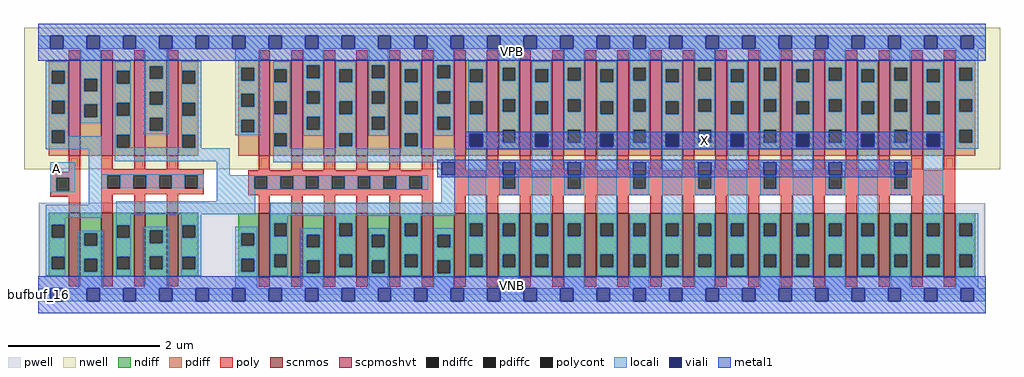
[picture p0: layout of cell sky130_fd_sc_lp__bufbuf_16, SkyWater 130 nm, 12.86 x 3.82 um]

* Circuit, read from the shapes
.subckt sky130_fd_sc_lp__bufbuf_16 A VGND VNB VPB VPWR X
XM1 VGND A n1 VNB sky130_fd_pr__nfet_01v8 w=0.84 l=0.15
XM2 n2 n1 VGND VNB sky130_fd_pr__nfet_01v8 w=0.84 l=0.15 m=3
XM3 n3 n2 VGND VNB sky130_fd_pr__nfet_01v8 w=0.84 l=0.15 m=6
XM4 X n3 VGND VNB sky130_fd_pr__nfet_01v8 w=0.84 l=0.15 m=16
XM5 VPWR A n1 VPB sky130_fd_pr__pfet_01v8_hvt w=1.26 l=0.15
XM6 n2 n1 VPWR VPB sky130_fd_pr__pfet_01v8_hvt w=1.26 l=0.15 m=3
XM7 n3 n2 VPWR VPB sky130_fd_pr__pfet_01v8_hvt w=1.26 l=0.15 m=6
XM8 X n3 VPWR VPB sky130_fd_pr__pfet_01v8_hvt w=1.26 l=0.15 m=16
.ends

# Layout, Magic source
magic
tech sky130A
magscale 1 2
<< nwell >>
rect -38 331 2534 704
<< pwell >>
rect 1 241 447 243
rect 1 49 2495 241
rect 0 0 2496 49
<< scnmos >>
rect 80 49 110 217
rect 166 49 196 217
rect 252 49 282 217
rect 338 49 368 217
rect 580 47 610 215
rect 666 47 696 215
rect 752 47 782 215
rect 838 47 868 215
rect 924 47 954 215
rect 1010 47 1040 215
rect 1096 47 1126 215
rect 1182 47 1212 215
rect 1268 47 1298 215
rect 1354 47 1384 215
rect 1440 47 1470 215
rect 1526 47 1556 215
rect 1612 47 1642 215
rect 1698 47 1728 215
rect 1784 47 1814 215
rect 1870 47 1900 215
rect 1956 47 1986 215
rect 2042 47 2072 215
rect 2128 47 2158 215
rect 2214 47 2244 215
rect 2300 47 2330 215
rect 2386 47 2416 215
<< scpmoshvt >>
rect 80 367 110 619
rect 166 367 196 619
rect 252 367 282 619
rect 338 367 368 619
rect 580 367 610 619
rect 666 367 696 619
rect 752 367 782 619
rect 838 367 868 619
rect 924 367 954 619
rect 1010 367 1040 619
rect 1096 367 1126 619
rect 1182 367 1212 619
rect 1268 367 1298 619
rect 1354 367 1384 619
rect 1440 367 1470 619
rect 1526 367 1556 619
rect 1612 367 1642 619
rect 1698 367 1728 619
rect 1784 367 1814 619
rect 1870 367 1900 619
rect 1956 367 1986 619
rect 2042 367 2072 619
rect 2128 367 2158 619
rect 2214 367 2244 619
rect 2300 367 2330 619
rect 2386 367 2416 619
<< ndiff >>
rect 27 185 80 217
rect 27 151 35 185
rect 69 151 80 185
rect 27 101 80 151
rect 27 67 35 101
rect 69 67 80 101
rect 27 49 80 67
rect 110 163 166 217
rect 110 129 121 163
rect 155 129 166 163
rect 110 95 166 129
rect 110 61 121 95
rect 155 61 166 95
rect 110 49 166 61
rect 196 184 252 217
rect 196 150 207 184
rect 241 150 252 184
rect 196 101 252 150
rect 196 67 207 101
rect 241 67 252 101
rect 196 49 252 67
rect 282 170 338 217
rect 282 136 293 170
rect 327 136 338 170
rect 282 102 338 136
rect 282 68 293 102
rect 327 68 338 102
rect 282 49 338 68
rect 368 184 421 217
rect 368 150 379 184
rect 413 150 421 184
rect 368 101 421 150
rect 368 67 379 101
rect 413 67 421 101
rect 368 49 421 67
rect 527 163 580 215
rect 527 129 535 163
rect 569 129 580 163
rect 527 95 580 129
rect 527 61 535 95
rect 569 61 580 95
rect 527 47 580 61
rect 610 189 666 215
rect 610 155 621 189
rect 655 155 666 189
rect 610 107 666 155
rect 610 73 621 107
rect 655 73 666 107
rect 610 47 666 73
rect 696 159 752 215
rect 696 125 707 159
rect 741 125 752 159
rect 696 91 752 125
rect 696 57 707 91
rect 741 57 752 91
rect 696 47 752 57
rect 782 189 838 215
rect 782 155 793 189
rect 827 155 838 189
rect 782 107 838 155
rect 782 73 793 107
rect 827 73 838 107
rect 782 47 838 73
rect 868 159 924 215
rect 868 125 879 159
rect 913 125 924 159
rect 868 91 924 125
rect 868 57 879 91
rect 913 57 924 91
rect 868 47 924 57
rect 954 189 1010 215
rect 954 155 965 189
rect 999 155 1010 189
rect 954 107 1010 155
rect 954 73 965 107
rect 999 73 1010 107
rect 954 47 1010 73
rect 1040 159 1096 215
rect 1040 125 1051 159
rect 1085 125 1096 159
rect 1040 91 1096 125
rect 1040 57 1051 91
rect 1085 57 1096 91
rect 1040 47 1096 57
rect 1126 189 1182 215
rect 1126 155 1137 189
rect 1171 155 1182 189
rect 1126 107 1182 155
rect 1126 73 1137 107
rect 1171 73 1182 107
rect 1126 47 1182 73
rect 1212 189 1268 215
rect 1212 155 1223 189
rect 1257 155 1268 189
rect 1212 107 1268 155
rect 1212 73 1223 107
rect 1257 73 1268 107
rect 1212 47 1268 73
rect 1298 189 1354 215
rect 1298 155 1309 189
rect 1343 155 1354 189
rect 1298 107 1354 155
rect 1298 73 1309 107
rect 1343 73 1354 107
rect 1298 47 1354 73
rect 1384 189 1440 215
rect 1384 155 1395 189
rect 1429 155 1440 189
rect 1384 107 1440 155
rect 1384 73 1395 107
rect 1429 73 1440 107
rect 1384 47 1440 73
rect 1470 189 1526 215
rect 1470 155 1481 189
rect 1515 155 1526 189
rect 1470 107 1526 155
rect 1470 73 1481 107
rect 1515 73 1526 107
rect 1470 47 1526 73
rect 1556 189 1612 215
rect 1556 155 1567 189
rect 1601 155 1612 189
rect 1556 107 1612 155
rect 1556 73 1567 107
rect 1601 73 1612 107
rect 1556 47 1612 73
rect 1642 189 1698 215
rect 1642 155 1653 189
rect 1687 155 1698 189
rect 1642 107 1698 155
rect 1642 73 1653 107
rect 1687 73 1698 107
rect 1642 47 1698 73
rect 1728 189 1784 215
rect 1728 155 1739 189
rect 1773 155 1784 189
rect 1728 107 1784 155
rect 1728 73 1739 107
rect 1773 73 1784 107
rect 1728 47 1784 73
rect 1814 189 1870 215
rect 1814 155 1825 189
rect 1859 155 1870 189
rect 1814 107 1870 155
rect 1814 73 1825 107
rect 1859 73 1870 107
rect 1814 47 1870 73
rect 1900 189 1956 215
rect 1900 155 1911 189
rect 1945 155 1956 189
rect 1900 107 1956 155
rect 1900 73 1911 107
rect 1945 73 1956 107
rect 1900 47 1956 73
rect 1986 189 2042 215
rect 1986 155 1997 189
rect 2031 155 2042 189
rect 1986 107 2042 155
rect 1986 73 1997 107
rect 2031 73 2042 107
rect 1986 47 2042 73
rect 2072 189 2128 215
rect 2072 155 2083 189
rect 2117 155 2128 189
rect 2072 107 2128 155
rect 2072 73 2083 107
rect 2117 73 2128 107
rect 2072 47 2128 73
rect 2158 189 2214 215
rect 2158 155 2169 189
rect 2203 155 2214 189
rect 2158 107 2214 155
rect 2158 73 2169 107
rect 2203 73 2214 107
rect 2158 47 2214 73
rect 2244 189 2300 215
rect 2244 155 2255 189
rect 2289 155 2300 189
rect 2244 107 2300 155
rect 2244 73 2255 107
rect 2289 73 2300 107
rect 2244 47 2300 73
rect 2330 189 2386 215
rect 2330 155 2341 189
rect 2375 155 2386 189
rect 2330 107 2386 155
rect 2330 73 2341 107
rect 2375 73 2386 107
rect 2330 47 2386 73
rect 2416 189 2469 215
rect 2416 155 2427 189
rect 2461 155 2469 189
rect 2416 107 2469 155
rect 2416 73 2427 107
rect 2461 73 2469 107
rect 2416 47 2469 73
<< pdiff >>
rect 27 590 80 619
rect 27 556 35 590
rect 69 556 80 590
rect 27 511 80 556
rect 27 477 35 511
rect 69 477 80 511
rect 27 434 80 477
rect 27 400 35 434
rect 69 400 80 434
rect 27 367 80 400
rect 110 570 166 619
rect 110 536 121 570
rect 155 536 166 570
rect 110 502 166 536
rect 110 468 121 502
rect 155 468 166 502
rect 110 367 166 468
rect 196 590 252 619
rect 196 556 207 590
rect 241 556 252 590
rect 196 506 252 556
rect 196 472 207 506
rect 241 472 252 506
rect 196 422 252 472
rect 196 388 207 422
rect 241 388 252 422
rect 196 367 252 388
rect 282 603 338 619
rect 282 569 293 603
rect 327 569 338 603
rect 282 535 338 569
rect 282 501 293 535
rect 327 501 338 535
rect 282 467 338 501
rect 282 433 293 467
rect 327 433 338 467
rect 282 367 338 433
rect 368 590 421 619
rect 368 556 379 590
rect 413 556 421 590
rect 368 506 421 556
rect 368 472 379 506
rect 413 472 421 506
rect 368 422 421 472
rect 368 388 379 422
rect 413 388 421 422
rect 368 367 421 388
rect 527 598 580 619
rect 527 564 535 598
rect 569 564 580 598
rect 527 530 580 564
rect 527 496 535 530
rect 569 496 580 530
rect 527 462 580 496
rect 527 428 535 462
rect 569 428 580 462
rect 527 367 580 428
rect 610 594 666 619
rect 610 560 621 594
rect 655 560 666 594
rect 610 510 666 560
rect 610 476 621 510
rect 655 476 666 510
rect 610 426 666 476
rect 610 392 621 426
rect 655 392 666 426
rect 610 367 666 392
rect 696 605 752 619
rect 696 571 707 605
rect 741 571 752 605
rect 696 537 752 571
rect 696 503 707 537
rect 741 503 752 537
rect 696 469 752 503
rect 696 435 707 469
rect 741 435 752 469
rect 696 367 752 435
rect 782 594 838 619
rect 782 560 793 594
rect 827 560 838 594
rect 782 510 838 560
rect 782 476 793 510
rect 827 476 838 510
rect 782 426 838 476
rect 782 392 793 426
rect 827 392 838 426
rect 782 367 838 392
rect 868 605 924 619
rect 868 571 879 605
rect 913 571 924 605
rect 868 537 924 571
rect 868 503 879 537
rect 913 503 924 537
rect 868 469 924 503
rect 868 435 879 469
rect 913 435 924 469
rect 868 367 924 435
rect 954 594 1010 619
rect 954 560 965 594
rect 999 560 1010 594
rect 954 510 1010 560
rect 954 476 965 510
rect 999 476 1010 510
rect 954 426 1010 476
rect 954 392 965 426
rect 999 392 1010 426
rect 954 367 1010 392
rect 1040 605 1096 619
rect 1040 571 1051 605
rect 1085 571 1096 605
rect 1040 537 1096 571
rect 1040 503 1051 537
rect 1085 503 1096 537
rect 1040 469 1096 503
rect 1040 435 1051 469
rect 1085 435 1096 469
rect 1040 367 1096 435
rect 1126 594 1182 619
rect 1126 560 1137 594
rect 1171 560 1182 594
rect 1126 510 1182 560
rect 1126 476 1137 510
rect 1171 476 1182 510
rect 1126 426 1182 476
rect 1126 392 1137 426
rect 1171 392 1182 426
rect 1126 367 1182 392
rect 1212 598 1268 619
rect 1212 564 1223 598
rect 1257 564 1268 598
rect 1212 516 1268 564
rect 1212 482 1223 516
rect 1257 482 1268 516
rect 1212 435 1268 482
rect 1212 401 1223 435
rect 1257 401 1268 435
rect 1212 367 1268 401
rect 1298 594 1354 619
rect 1298 560 1309 594
rect 1343 560 1354 594
rect 1298 510 1354 560
rect 1298 476 1309 510
rect 1343 476 1354 510
rect 1298 426 1354 476
rect 1298 392 1309 426
rect 1343 392 1354 426
rect 1298 367 1354 392
rect 1384 598 1440 619
rect 1384 564 1395 598
rect 1429 564 1440 598
rect 1384 516 1440 564
rect 1384 482 1395 516
rect 1429 482 1440 516
rect 1384 435 1440 482
rect 1384 401 1395 435
rect 1429 401 1440 435
rect 1384 367 1440 401
rect 1470 594 1526 619
rect 1470 560 1481 594
rect 1515 560 1526 594
rect 1470 510 1526 560
rect 1470 476 1481 510
rect 1515 476 1526 510
rect 1470 426 1526 476
rect 1470 392 1481 426
rect 1515 392 1526 426
rect 1470 367 1526 392
rect 1556 598 1612 619
rect 1556 564 1567 598
rect 1601 564 1612 598
rect 1556 516 1612 564
rect 1556 482 1567 516
rect 1601 482 1612 516
rect 1556 435 1612 482
rect 1556 401 1567 435
rect 1601 401 1612 435
rect 1556 367 1612 401
rect 1642 594 1698 619
rect 1642 560 1653 594
rect 1687 560 1698 594
rect 1642 510 1698 560
rect 1642 476 1653 510
rect 1687 476 1698 510
rect 1642 426 1698 476
rect 1642 392 1653 426
rect 1687 392 1698 426
rect 1642 367 1698 392
rect 1728 598 1784 619
rect 1728 564 1739 598
rect 1773 564 1784 598
rect 1728 516 1784 564
rect 1728 482 1739 516
rect 1773 482 1784 516
rect 1728 435 1784 482
rect 1728 401 1739 435
rect 1773 401 1784 435
rect 1728 367 1784 401
rect 1814 594 1870 619
rect 1814 560 1825 594
rect 1859 560 1870 594
rect 1814 510 1870 560
rect 1814 476 1825 510
rect 1859 476 1870 510
rect 1814 426 1870 476
rect 1814 392 1825 426
rect 1859 392 1870 426
rect 1814 367 1870 392
rect 1900 598 1956 619
rect 1900 564 1911 598
rect 1945 564 1956 598
rect 1900 516 1956 564
rect 1900 482 1911 516
rect 1945 482 1956 516
rect 1900 435 1956 482
rect 1900 401 1911 435
rect 1945 401 1956 435
rect 1900 367 1956 401
rect 1986 594 2042 619
rect 1986 560 1997 594
rect 2031 560 2042 594
rect 1986 510 2042 560
rect 1986 476 1997 510
rect 2031 476 2042 510
rect 1986 426 2042 476
rect 1986 392 1997 426
rect 2031 392 2042 426
rect 1986 367 2042 392
rect 2072 598 2128 619
rect 2072 564 2083 598
rect 2117 564 2128 598
rect 2072 516 2128 564
rect 2072 482 2083 516
rect 2117 482 2128 516
rect 2072 435 2128 482
rect 2072 401 2083 435
rect 2117 401 2128 435
rect 2072 367 2128 401
rect 2158 594 2214 619
rect 2158 560 2169 594
rect 2203 560 2214 594
rect 2158 510 2214 560
rect 2158 476 2169 510
rect 2203 476 2214 510
rect 2158 426 2214 476
rect 2158 392 2169 426
rect 2203 392 2214 426
rect 2158 367 2214 392
rect 2244 598 2300 619
rect 2244 564 2255 598
rect 2289 564 2300 598
rect 2244 516 2300 564
rect 2244 482 2255 516
rect 2289 482 2300 516
rect 2244 435 2300 482
rect 2244 401 2255 435
rect 2289 401 2300 435
rect 2244 367 2300 401
rect 2330 594 2386 619
rect 2330 560 2341 594
rect 2375 560 2386 594
rect 2330 510 2386 560
rect 2330 476 2341 510
rect 2375 476 2386 510
rect 2330 426 2386 476
rect 2330 392 2341 426
rect 2375 392 2386 426
rect 2330 367 2386 392
rect 2416 598 2469 619
rect 2416 564 2427 598
rect 2461 564 2469 598
rect 2416 516 2469 564
rect 2416 482 2427 516
rect 2461 482 2469 516
rect 2416 435 2469 482
rect 2416 401 2427 435
rect 2461 401 2469 435
rect 2416 367 2469 401
<< ndiffc >>
rect 35 151 69 185
rect 35 67 69 101
rect 121 129 155 163
rect 121 61 155 95
rect 207 150 241 184
rect 207 67 241 101
rect 293 136 327 170
rect 293 68 327 102
rect 379 150 413 184
rect 379 67 413 101
rect 535 129 569 163
rect 535 61 569 95
rect 621 155 655 189
rect 621 73 655 107
rect 707 125 741 159
rect 707 57 741 91
rect 793 155 827 189
rect 793 73 827 107
rect 879 125 913 159
rect 879 57 913 91
rect 965 155 999 189
rect 965 73 999 107
rect 1051 125 1085 159
rect 1051 57 1085 91
rect 1137 155 1171 189
rect 1137 73 1171 107
rect 1223 155 1257 189
rect 1223 73 1257 107
rect 1309 155 1343 189
rect 1309 73 1343 107
rect 1395 155 1429 189
rect 1395 73 1429 107
rect 1481 155 1515 189
rect 1481 73 1515 107
rect 1567 155 1601 189
rect 1567 73 1601 107
rect 1653 155 1687 189
rect 1653 73 1687 107
rect 1739 155 1773 189
rect 1739 73 1773 107
rect 1825 155 1859 189
rect 1825 73 1859 107
rect 1911 155 1945 189
rect 1911 73 1945 107
rect 1997 155 2031 189
rect 1997 73 2031 107
rect 2083 155 2117 189
rect 2083 73 2117 107
rect 2169 155 2203 189
rect 2169 73 2203 107
rect 2255 155 2289 189
rect 2255 73 2289 107
rect 2341 155 2375 189
rect 2341 73 2375 107
rect 2427 155 2461 189
rect 2427 73 2461 107
<< pdiffc >>
rect 35 556 69 590
rect 35 477 69 511
rect 35 400 69 434
rect 121 536 155 570
rect 121 468 155 502
rect 207 556 241 590
rect 207 472 241 506
rect 207 388 241 422
rect 293 569 327 603
rect 293 501 327 535
rect 293 433 327 467
rect 379 556 413 590
rect 379 472 413 506
rect 379 388 413 422
rect 535 564 569 598
rect 535 496 569 530
rect 535 428 569 462
rect 621 560 655 594
rect 621 476 655 510
rect 621 392 655 426
rect 707 571 741 605
rect 707 503 741 537
rect 707 435 741 469
rect 793 560 827 594
rect 793 476 827 510
rect 793 392 827 426
rect 879 571 913 605
rect 879 503 913 537
rect 879 435 913 469
rect 965 560 999 594
rect 965 476 999 510
rect 965 392 999 426
rect 1051 571 1085 605
rect 1051 503 1085 537
rect 1051 435 1085 469
rect 1137 560 1171 594
rect 1137 476 1171 510
rect 1137 392 1171 426
rect 1223 564 1257 598
rect 1223 482 1257 516
rect 1223 401 1257 435
rect 1309 560 1343 594
rect 1309 476 1343 510
rect 1309 392 1343 426
rect 1395 564 1429 598
rect 1395 482 1429 516
rect 1395 401 1429 435
rect 1481 560 1515 594
rect 1481 476 1515 510
rect 1481 392 1515 426
rect 1567 564 1601 598
rect 1567 482 1601 516
rect 1567 401 1601 435
rect 1653 560 1687 594
rect 1653 476 1687 510
rect 1653 392 1687 426
rect 1739 564 1773 598
rect 1739 482 1773 516
rect 1739 401 1773 435
rect 1825 560 1859 594
rect 1825 476 1859 510
rect 1825 392 1859 426
rect 1911 564 1945 598
rect 1911 482 1945 516
rect 1911 401 1945 435
rect 1997 560 2031 594
rect 1997 476 2031 510
rect 1997 392 2031 426
rect 2083 564 2117 598
rect 2083 482 2117 516
rect 2083 401 2117 435
rect 2169 560 2203 594
rect 2169 476 2203 510
rect 2169 392 2203 426
rect 2255 564 2289 598
rect 2255 482 2289 516
rect 2255 401 2289 435
rect 2341 560 2375 594
rect 2341 476 2375 510
rect 2341 392 2375 426
rect 2427 564 2461 598
rect 2427 482 2461 516
rect 2427 401 2461 435
<< poly >>
rect 80 619 110 645
rect 166 619 196 645
rect 252 619 282 645
rect 338 619 368 645
rect 580 619 610 645
rect 666 619 696 645
rect 752 619 782 645
rect 838 619 868 645
rect 924 619 954 645
rect 1010 619 1040 645
rect 1096 619 1126 645
rect 1182 619 1212 645
rect 1268 619 1298 645
rect 1354 619 1384 645
rect 1440 619 1470 645
rect 1526 619 1556 645
rect 1612 619 1642 645
rect 1698 619 1728 645
rect 1784 619 1814 645
rect 1870 619 1900 645
rect 1956 619 1986 645
rect 2042 619 2072 645
rect 2128 619 2158 645
rect 2214 619 2244 645
rect 2300 619 2330 645
rect 2386 619 2416 645
rect 80 325 110 367
rect 31 309 110 325
rect 31 275 47 309
rect 81 275 110 309
rect 31 259 110 275
rect 80 217 110 259
rect 166 331 196 367
rect 252 331 282 367
rect 338 331 368 367
rect 166 315 436 331
rect 580 329 610 367
rect 666 329 696 367
rect 752 329 782 367
rect 838 329 868 367
rect 924 329 954 367
rect 1010 329 1040 367
rect 166 281 182 315
rect 216 281 250 315
rect 284 281 318 315
rect 352 281 386 315
rect 420 281 436 315
rect 166 265 436 281
rect 553 313 1040 329
rect 553 279 569 313
rect 603 279 637 313
rect 671 279 705 313
rect 739 279 773 313
rect 807 279 841 313
rect 875 279 909 313
rect 943 279 977 313
rect 1011 279 1040 313
rect 166 217 196 265
rect 252 217 282 265
rect 338 217 368 265
rect 553 263 1040 279
rect 580 215 610 263
rect 666 215 696 263
rect 752 215 782 263
rect 838 215 868 263
rect 924 215 954 263
rect 1010 215 1040 263
rect 1096 329 1126 367
rect 1182 329 1212 367
rect 1268 329 1298 367
rect 1354 329 1384 367
rect 1440 329 1470 367
rect 1526 329 1556 367
rect 1612 329 1642 367
rect 1698 329 1728 367
rect 1784 329 1814 367
rect 1870 329 1900 367
rect 1956 329 1986 367
rect 2042 329 2072 367
rect 2128 329 2158 367
rect 2214 329 2244 367
rect 2300 329 2330 367
rect 2386 329 2416 367
rect 1096 313 2416 329
rect 1096 279 1223 313
rect 1257 279 1395 313
rect 1429 279 1567 313
rect 1601 279 1739 313
rect 1773 279 1911 313
rect 1945 279 2083 313
rect 2117 279 2255 313
rect 2289 279 2416 313
rect 1096 263 2416 279
rect 1096 215 1126 263
rect 1182 215 1212 263
rect 1268 215 1298 263
rect 1354 215 1384 263
rect 1440 215 1470 263
rect 1526 215 1556 263
rect 1612 215 1642 263
rect 1698 215 1728 263
rect 1784 215 1814 263
rect 1870 215 1900 263
rect 1956 215 1986 263
rect 2042 215 2072 263
rect 2128 215 2158 263
rect 2214 215 2244 263
rect 2300 215 2330 263
rect 2386 215 2416 263
rect 80 23 110 49
rect 166 23 196 49
rect 252 23 282 49
rect 338 23 368 49
rect 580 21 610 47
rect 666 21 696 47
rect 752 21 782 47
rect 838 21 868 47
rect 924 21 954 47
rect 1010 21 1040 47
rect 1096 21 1126 47
rect 1182 21 1212 47
rect 1268 21 1298 47
rect 1354 21 1384 47
rect 1440 21 1470 47
rect 1526 21 1556 47
rect 1612 21 1642 47
rect 1698 21 1728 47
rect 1784 21 1814 47
rect 1870 21 1900 47
rect 1956 21 1986 47
rect 2042 21 2072 47
rect 2128 21 2158 47
rect 2214 21 2244 47
rect 2300 21 2330 47
rect 2386 21 2416 47
<< polycont >>
rect 47 275 81 309
rect 182 281 216 315
rect 250 281 284 315
rect 318 281 352 315
rect 386 281 420 315
rect 569 279 603 313
rect 637 279 671 313
rect 705 279 739 313
rect 773 279 807 313
rect 841 279 875 313
rect 909 279 943 313
rect 977 279 1011 313
rect 1223 279 1257 313
rect 1395 279 1429 313
rect 1567 279 1601 313
rect 1739 279 1773 313
rect 1911 279 1945 313
rect 2083 279 2117 313
rect 2255 279 2289 313
<< locali >>
rect 0 649 31 683
rect 65 649 127 683
rect 161 649 223 683
rect 257 649 319 683
rect 353 649 415 683
rect 449 649 511 683
rect 545 649 607 683
rect 641 649 703 683
rect 737 649 799 683
rect 833 649 895 683
rect 929 649 991 683
rect 1025 649 1087 683
rect 1121 649 1183 683
rect 1217 649 1279 683
rect 1313 649 1375 683
rect 1409 649 1471 683
rect 1505 649 1567 683
rect 1601 649 1663 683
rect 1697 649 1759 683
rect 1793 649 1855 683
rect 1889 649 1951 683
rect 1985 649 2047 683
rect 2081 649 2143 683
rect 2177 649 2239 683
rect 2273 649 2335 683
rect 2369 649 2431 683
rect 2465 649 2496 683
rect 19 590 78 615
rect 19 556 35 590
rect 69 556 78 590
rect 19 511 78 556
rect 19 477 35 511
rect 69 477 78 511
rect 19 434 78 477
rect 112 570 164 649
rect 112 536 121 570
rect 155 536 164 570
rect 112 502 164 536
rect 112 468 121 502
rect 155 468 164 502
rect 112 452 164 468
rect 201 590 243 615
rect 201 556 207 590
rect 241 556 243 590
rect 201 506 243 556
rect 201 472 207 506
rect 241 472 243 506
rect 19 400 35 434
rect 69 418 78 434
rect 201 422 243 472
rect 277 603 343 649
rect 277 569 293 603
rect 327 569 343 603
rect 277 535 343 569
rect 277 501 293 535
rect 327 501 343 535
rect 277 467 343 501
rect 277 433 293 467
rect 327 433 343 467
rect 277 423 343 433
rect 377 590 429 615
rect 377 556 379 590
rect 413 556 429 590
rect 377 506 429 556
rect 377 472 379 506
rect 413 472 429 506
rect 69 400 167 418
rect 19 384 167 400
rect 31 309 97 350
rect 31 275 47 309
rect 81 275 97 309
rect 31 271 97 275
rect 133 318 167 384
rect 201 388 207 422
rect 241 389 243 422
rect 377 422 429 472
rect 377 389 379 422
rect 241 388 379 389
rect 413 388 429 422
rect 519 598 585 649
rect 519 564 535 598
rect 569 564 585 598
rect 519 530 585 564
rect 519 496 535 530
rect 569 496 585 530
rect 519 462 585 496
rect 519 428 535 462
rect 569 428 585 462
rect 519 420 585 428
rect 619 594 664 615
rect 619 560 621 594
rect 655 560 664 594
rect 619 510 664 560
rect 619 476 621 510
rect 655 476 664 510
rect 619 426 664 476
rect 201 386 429 388
rect 619 392 621 426
rect 655 392 664 426
rect 698 605 750 649
rect 698 571 707 605
rect 741 571 750 605
rect 698 537 750 571
rect 698 503 707 537
rect 741 503 750 537
rect 698 469 750 503
rect 698 435 707 469
rect 741 435 750 469
rect 698 419 750 435
rect 784 594 836 615
rect 784 560 793 594
rect 827 560 836 594
rect 784 510 836 560
rect 784 476 793 510
rect 827 476 836 510
rect 784 426 836 476
rect 201 352 504 386
rect 133 315 436 318
rect 133 281 182 315
rect 216 281 250 315
rect 284 281 318 315
rect 352 281 386 315
rect 420 281 436 315
rect 470 315 504 352
rect 619 385 664 392
rect 784 392 793 426
rect 827 392 836 426
rect 870 605 922 649
rect 870 571 879 605
rect 913 571 922 605
rect 870 537 922 571
rect 870 503 879 537
rect 913 503 922 537
rect 870 469 922 503
rect 870 435 879 469
rect 913 435 922 469
rect 870 419 922 435
rect 956 594 1008 615
rect 956 560 965 594
rect 999 560 1008 594
rect 956 510 1008 560
rect 956 476 965 510
rect 999 476 1008 510
rect 956 426 1008 476
rect 784 385 836 392
rect 956 392 965 426
rect 999 392 1008 426
rect 1042 605 1094 649
rect 1042 571 1051 605
rect 1085 571 1094 605
rect 1042 537 1094 571
rect 1042 503 1051 537
rect 1085 503 1094 537
rect 1042 469 1094 503
rect 1042 435 1051 469
rect 1085 435 1094 469
rect 1042 419 1094 435
rect 1133 594 1180 615
rect 1133 560 1137 594
rect 1171 560 1180 594
rect 1133 510 1180 560
rect 1133 476 1137 510
rect 1171 476 1180 510
rect 1133 426 1180 476
rect 956 385 1008 392
rect 1133 390 1137 426
rect 1171 390 1180 426
rect 619 350 1099 385
rect 619 349 1063 350
rect 1061 316 1063 349
rect 1097 316 1099 350
rect 470 313 1027 315
rect 133 237 167 281
rect 470 279 569 313
rect 603 279 637 313
rect 671 279 705 313
rect 739 279 773 313
rect 807 279 841 313
rect 875 279 909 313
rect 943 279 977 313
rect 1011 279 1027 313
rect 470 277 1027 279
rect 470 247 571 277
rect 19 203 167 237
rect 205 213 571 247
rect 1061 243 1099 316
rect 19 185 71 203
rect 19 151 35 185
rect 69 151 71 185
rect 205 184 243 213
rect 19 101 71 151
rect 19 67 35 101
rect 69 67 71 101
rect 19 51 71 67
rect 105 163 171 169
rect 105 129 121 163
rect 155 129 171 163
rect 105 95 171 129
rect 105 61 121 95
rect 155 61 171 95
rect 105 17 171 61
rect 205 150 207 184
rect 241 150 243 184
rect 377 184 429 213
rect 205 101 243 150
rect 205 67 207 101
rect 241 67 243 101
rect 205 51 243 67
rect 277 170 343 179
rect 277 136 293 170
rect 327 136 343 170
rect 277 102 343 136
rect 277 68 293 102
rect 327 68 343 102
rect 277 17 343 68
rect 377 150 379 184
rect 413 150 429 184
rect 611 209 1099 243
rect 611 189 657 209
rect 377 101 429 150
rect 377 67 379 101
rect 413 67 429 101
rect 377 51 429 67
rect 519 163 577 179
rect 519 129 535 163
rect 569 129 577 163
rect 519 95 577 129
rect 519 61 535 95
rect 569 61 577 95
rect 519 17 577 61
rect 611 155 621 189
rect 655 155 657 189
rect 784 189 836 209
rect 611 107 657 155
rect 611 73 621 107
rect 655 73 657 107
rect 611 51 657 73
rect 691 159 750 175
rect 691 125 707 159
rect 741 125 750 159
rect 691 91 750 125
rect 691 57 707 91
rect 741 57 750 91
rect 691 17 750 57
rect 784 155 793 189
rect 827 155 836 189
rect 956 189 1008 209
rect 784 107 836 155
rect 784 73 793 107
rect 827 73 836 107
rect 784 51 836 73
rect 870 159 922 175
rect 870 125 879 159
rect 913 125 922 159
rect 870 91 922 125
rect 870 57 879 91
rect 913 57 922 91
rect 870 17 922 57
rect 956 155 965 189
rect 999 155 1008 189
rect 1133 189 1180 390
rect 1214 598 1266 649
rect 1214 564 1223 598
rect 1257 564 1266 598
rect 1214 516 1266 564
rect 1214 482 1223 516
rect 1257 482 1266 516
rect 1214 435 1266 482
rect 1214 401 1223 435
rect 1257 401 1266 435
rect 1214 385 1266 401
rect 1300 594 1352 615
rect 1300 560 1309 594
rect 1343 560 1352 594
rect 1300 510 1352 560
rect 1300 476 1309 510
rect 1343 476 1352 510
rect 1300 426 1352 476
rect 1300 390 1309 426
rect 1343 390 1352 426
rect 1214 350 1266 351
rect 1214 316 1223 350
rect 1257 316 1266 350
rect 1214 313 1266 316
rect 1214 279 1223 313
rect 1257 279 1266 313
rect 1214 263 1266 279
rect 956 107 1008 155
rect 956 73 965 107
rect 999 73 1008 107
rect 956 51 1008 73
rect 1042 159 1094 175
rect 1042 125 1051 159
rect 1085 125 1094 159
rect 1042 91 1094 125
rect 1042 57 1051 91
rect 1085 57 1094 91
rect 1042 17 1094 57
rect 1133 155 1137 189
rect 1171 155 1180 189
rect 1133 107 1180 155
rect 1133 73 1137 107
rect 1171 73 1180 107
rect 1133 51 1180 73
rect 1214 189 1266 215
rect 1214 155 1223 189
rect 1257 155 1266 189
rect 1214 107 1266 155
rect 1214 73 1223 107
rect 1257 73 1266 107
rect 1214 17 1266 73
rect 1300 189 1352 390
rect 1386 598 1438 649
rect 1386 564 1395 598
rect 1429 564 1438 598
rect 1386 516 1438 564
rect 1386 482 1395 516
rect 1429 482 1438 516
rect 1386 435 1438 482
rect 1386 401 1395 435
rect 1429 401 1438 435
rect 1386 385 1438 401
rect 1472 594 1524 615
rect 1472 560 1481 594
rect 1515 560 1524 594
rect 1472 510 1524 560
rect 1472 476 1481 510
rect 1515 476 1524 510
rect 1472 426 1524 476
rect 1472 390 1481 426
rect 1515 390 1524 426
rect 1386 350 1438 351
rect 1386 316 1395 350
rect 1429 316 1438 350
rect 1386 313 1438 316
rect 1386 279 1395 313
rect 1429 279 1438 313
rect 1386 263 1438 279
rect 1300 155 1309 189
rect 1343 155 1352 189
rect 1300 107 1352 155
rect 1300 73 1309 107
rect 1343 73 1352 107
rect 1300 51 1352 73
rect 1386 189 1438 215
rect 1386 155 1395 189
rect 1429 155 1438 189
rect 1386 107 1438 155
rect 1386 73 1395 107
rect 1429 73 1438 107
rect 1386 17 1438 73
rect 1472 189 1524 390
rect 1558 598 1610 649
rect 1558 564 1567 598
rect 1601 564 1610 598
rect 1558 516 1610 564
rect 1558 482 1567 516
rect 1601 482 1610 516
rect 1558 435 1610 482
rect 1558 401 1567 435
rect 1601 401 1610 435
rect 1558 385 1610 401
rect 1644 594 1696 615
rect 1644 560 1653 594
rect 1687 560 1696 594
rect 1644 510 1696 560
rect 1644 476 1653 510
rect 1687 476 1696 510
rect 1644 426 1696 476
rect 1644 390 1653 426
rect 1687 390 1696 426
rect 1558 350 1610 351
rect 1558 316 1567 350
rect 1601 316 1610 350
rect 1558 313 1610 316
rect 1558 279 1567 313
rect 1601 279 1610 313
rect 1558 263 1610 279
rect 1472 155 1481 189
rect 1515 155 1524 189
rect 1472 107 1524 155
rect 1472 73 1481 107
rect 1515 73 1524 107
rect 1472 51 1524 73
rect 1558 189 1610 215
rect 1558 155 1567 189
rect 1601 155 1610 189
rect 1558 107 1610 155
rect 1558 73 1567 107
rect 1601 73 1610 107
rect 1558 17 1610 73
rect 1644 189 1696 390
rect 1730 598 1782 649
rect 1730 564 1739 598
rect 1773 564 1782 598
rect 1730 516 1782 564
rect 1730 482 1739 516
rect 1773 482 1782 516
rect 1730 435 1782 482
rect 1730 401 1739 435
rect 1773 401 1782 435
rect 1730 385 1782 401
rect 1816 594 1868 615
rect 1816 560 1825 594
rect 1859 560 1868 594
rect 1816 510 1868 560
rect 1816 476 1825 510
rect 1859 476 1868 510
rect 1816 426 1868 476
rect 1816 390 1825 426
rect 1859 390 1868 426
rect 1730 350 1782 351
rect 1730 316 1739 350
rect 1773 316 1782 350
rect 1730 313 1782 316
rect 1730 279 1739 313
rect 1773 279 1782 313
rect 1730 263 1782 279
rect 1644 155 1653 189
rect 1687 155 1696 189
rect 1644 107 1696 155
rect 1644 73 1653 107
rect 1687 73 1696 107
rect 1644 51 1696 73
rect 1730 189 1782 215
rect 1730 155 1739 189
rect 1773 155 1782 189
rect 1730 107 1782 155
rect 1730 73 1739 107
rect 1773 73 1782 107
rect 1730 17 1782 73
rect 1816 189 1868 390
rect 1902 598 1954 649
rect 1902 564 1911 598
rect 1945 564 1954 598
rect 1902 516 1954 564
rect 1902 482 1911 516
rect 1945 482 1954 516
rect 1902 435 1954 482
rect 1902 401 1911 435
rect 1945 401 1954 435
rect 1902 385 1954 401
rect 1988 594 2040 615
rect 1988 560 1997 594
rect 2031 560 2040 594
rect 1988 510 2040 560
rect 1988 476 1997 510
rect 2031 476 2040 510
rect 1988 426 2040 476
rect 1988 390 1997 426
rect 2031 390 2040 426
rect 1902 350 1954 351
rect 1902 316 1911 350
rect 1945 316 1954 350
rect 1902 313 1954 316
rect 1902 279 1911 313
rect 1945 279 1954 313
rect 1902 263 1954 279
rect 1816 155 1825 189
rect 1859 155 1868 189
rect 1816 107 1868 155
rect 1816 73 1825 107
rect 1859 73 1868 107
rect 1816 51 1868 73
rect 1902 189 1954 215
rect 1902 155 1911 189
rect 1945 155 1954 189
rect 1902 107 1954 155
rect 1902 73 1911 107
rect 1945 73 1954 107
rect 1902 17 1954 73
rect 1988 189 2040 390
rect 2074 598 2126 649
rect 2074 564 2083 598
rect 2117 564 2126 598
rect 2074 516 2126 564
rect 2074 482 2083 516
rect 2117 482 2126 516
rect 2074 435 2126 482
rect 2074 401 2083 435
rect 2117 401 2126 435
rect 2074 385 2126 401
rect 2160 594 2212 615
rect 2160 560 2169 594
rect 2203 560 2212 594
rect 2160 510 2212 560
rect 2160 476 2169 510
rect 2203 476 2212 510
rect 2160 426 2212 476
rect 2160 390 2169 426
rect 2203 390 2212 426
rect 2074 350 2126 351
rect 2074 316 2083 350
rect 2117 316 2126 350
rect 2074 313 2126 316
rect 2074 279 2083 313
rect 2117 279 2126 313
rect 2074 263 2126 279
rect 1988 155 1997 189
rect 2031 155 2040 189
rect 1988 107 2040 155
rect 1988 73 1997 107
rect 2031 73 2040 107
rect 1988 51 2040 73
rect 2074 189 2126 215
rect 2074 155 2083 189
rect 2117 155 2126 189
rect 2074 107 2126 155
rect 2074 73 2083 107
rect 2117 73 2126 107
rect 2074 17 2126 73
rect 2160 189 2212 390
rect 2246 598 2298 649
rect 2246 564 2255 598
rect 2289 564 2298 598
rect 2246 516 2298 564
rect 2246 482 2255 516
rect 2289 482 2298 516
rect 2246 435 2298 482
rect 2246 401 2255 435
rect 2289 401 2298 435
rect 2246 385 2298 401
rect 2332 594 2384 615
rect 2332 560 2341 594
rect 2375 560 2384 594
rect 2332 510 2384 560
rect 2332 476 2341 510
rect 2375 476 2384 510
rect 2332 426 2384 476
rect 2332 390 2341 426
rect 2375 390 2384 426
rect 2246 350 2298 351
rect 2246 316 2255 350
rect 2289 316 2298 350
rect 2246 313 2298 316
rect 2246 279 2255 313
rect 2289 279 2298 313
rect 2246 263 2298 279
rect 2160 155 2169 189
rect 2203 155 2212 189
rect 2160 107 2212 155
rect 2160 73 2169 107
rect 2203 73 2212 107
rect 2160 51 2212 73
rect 2246 189 2298 215
rect 2246 155 2255 189
rect 2289 155 2298 189
rect 2246 107 2298 155
rect 2246 73 2255 107
rect 2289 73 2298 107
rect 2246 17 2298 73
rect 2332 189 2384 390
rect 2418 598 2477 649
rect 2418 564 2427 598
rect 2461 564 2477 598
rect 2418 516 2477 564
rect 2418 482 2427 516
rect 2461 482 2477 516
rect 2418 435 2477 482
rect 2418 401 2427 435
rect 2461 401 2477 435
rect 2418 385 2477 401
rect 2332 155 2341 189
rect 2375 155 2384 189
rect 2332 107 2384 155
rect 2332 73 2341 107
rect 2375 73 2384 107
rect 2332 51 2384 73
rect 2418 189 2477 215
rect 2418 155 2427 189
rect 2461 155 2477 189
rect 2418 107 2477 155
rect 2418 73 2427 107
rect 2461 73 2477 107
rect 2418 17 2477 73
rect 0 -17 31 17
rect 65 -17 127 17
rect 161 -17 223 17
rect 257 -17 319 17
rect 353 -17 415 17
rect 449 -17 511 17
rect 545 -17 607 17
rect 641 -17 703 17
rect 737 -17 799 17
rect 833 -17 895 17
rect 929 -17 991 17
rect 1025 -17 1087 17
rect 1121 -17 1183 17
rect 1217 -17 1279 17
rect 1313 -17 1375 17
rect 1409 -17 1471 17
rect 1505 -17 1567 17
rect 1601 -17 1663 17
rect 1697 -17 1759 17
rect 1793 -17 1855 17
rect 1889 -17 1951 17
rect 1985 -17 2047 17
rect 2081 -17 2143 17
rect 2177 -17 2239 17
rect 2273 -17 2335 17
rect 2369 -17 2431 17
rect 2465 -17 2496 17
<< viali >>
rect 31 649 65 683
rect 127 649 161 683
rect 223 649 257 683
rect 319 649 353 683
rect 415 649 449 683
rect 511 649 545 683
rect 607 649 641 683
rect 703 649 737 683
rect 799 649 833 683
rect 895 649 929 683
rect 991 649 1025 683
rect 1087 649 1121 683
rect 1183 649 1217 683
rect 1279 649 1313 683
rect 1375 649 1409 683
rect 1471 649 1505 683
rect 1567 649 1601 683
rect 1663 649 1697 683
rect 1759 649 1793 683
rect 1855 649 1889 683
rect 1951 649 1985 683
rect 2047 649 2081 683
rect 2143 649 2177 683
rect 2239 649 2273 683
rect 2335 649 2369 683
rect 2431 649 2465 683
rect 1137 392 1171 424
rect 1137 390 1171 392
rect 1063 316 1097 350
rect 1309 392 1343 424
rect 1309 390 1343 392
rect 1223 316 1257 350
rect 1481 392 1515 424
rect 1481 390 1515 392
rect 1395 316 1429 350
rect 1653 392 1687 424
rect 1653 390 1687 392
rect 1567 316 1601 350
rect 1825 392 1859 424
rect 1825 390 1859 392
rect 1739 316 1773 350
rect 1997 392 2031 424
rect 1997 390 2031 392
rect 1911 316 1945 350
rect 2169 392 2203 424
rect 2169 390 2203 392
rect 2083 316 2117 350
rect 2341 392 2375 424
rect 2341 390 2375 392
rect 2255 316 2289 350
rect 31 -17 65 17
rect 127 -17 161 17
rect 223 -17 257 17
rect 319 -17 353 17
rect 415 -17 449 17
rect 511 -17 545 17
rect 607 -17 641 17
rect 703 -17 737 17
rect 799 -17 833 17
rect 895 -17 929 17
rect 991 -17 1025 17
rect 1087 -17 1121 17
rect 1183 -17 1217 17
rect 1279 -17 1313 17
rect 1375 -17 1409 17
rect 1471 -17 1505 17
rect 1567 -17 1601 17
rect 1663 -17 1697 17
rect 1759 -17 1793 17
rect 1855 -17 1889 17
rect 1951 -17 1985 17
rect 2047 -17 2081 17
rect 2143 -17 2177 17
rect 2239 -17 2273 17
rect 2335 -17 2369 17
rect 2431 -17 2465 17
<< metal1 >>
rect 0 683 2496 715
rect 0 649 31 683
rect 65 649 127 683
rect 161 649 223 683
rect 257 649 319 683
rect 353 649 415 683
rect 449 649 511 683
rect 545 649 607 683
rect 641 649 703 683
rect 737 649 799 683
rect 833 649 895 683
rect 929 649 991 683
rect 1025 649 1087 683
rect 1121 649 1183 683
rect 1217 649 1279 683
rect 1313 649 1375 683
rect 1409 649 1471 683
rect 1505 649 1567 683
rect 1601 649 1663 683
rect 1697 649 1759 683
rect 1793 649 1855 683
rect 1889 649 1951 683
rect 1985 649 2047 683
rect 2081 649 2143 683
rect 2177 649 2239 683
rect 2273 649 2335 683
rect 2369 649 2431 683
rect 2465 649 2496 683
rect 0 617 2496 649
rect 1125 424 2387 430
rect 1125 390 1137 424
rect 1171 390 1309 424
rect 1343 390 1481 424
rect 1515 390 1653 424
rect 1687 390 1825 424
rect 1859 390 1997 424
rect 2031 390 2169 424
rect 2203 390 2341 424
rect 2375 390 2387 424
rect 1125 384 2387 390
rect 1051 350 2301 356
rect 1051 316 1063 350
rect 1097 316 1223 350
rect 1257 316 1395 350
rect 1429 316 1567 350
rect 1601 316 1739 350
rect 1773 316 1911 350
rect 1945 316 2083 350
rect 2117 316 2255 350
rect 2289 316 2301 350
rect 1051 310 2301 316
rect 0 17 2496 49
rect 0 -17 31 17
rect 65 -17 127 17
rect 161 -17 223 17
rect 257 -17 319 17
rect 353 -17 415 17
rect 449 -17 511 17
rect 545 -17 607 17
rect 641 -17 703 17
rect 737 -17 799 17
rect 833 -17 895 17
rect 929 -17 991 17
rect 1025 -17 1087 17
rect 1121 -17 1183 17
rect 1217 -17 1279 17
rect 1313 -17 1375 17
rect 1409 -17 1471 17
rect 1505 -17 1567 17
rect 1601 -17 1663 17
rect 1697 -17 1759 17
rect 1793 -17 1855 17
rect 1889 -17 1951 17
rect 1985 -17 2047 17
rect 2081 -17 2143 17
rect 2177 -17 2239 17
rect 2273 -17 2335 17
rect 2369 -17 2431 17
rect 2465 -17 2496 17
rect 0 -49 2496 -17
<< labels >>
flabel pwell s 0 0 2496 49 0 FreeSans 200 0 0 0 VNB
port 3 nsew ground bidirectional
flabel nwell s 0 617 2496 666 0 FreeSans 200 0 0 0 VPB
port 4 nsew power bidirectional
rlabel comment s 0 0 0 0 4 bufbuf_16
flabel metal1 s 1125 384 2387 430 0 FreeSans 200 0 0 0 X
port 6 nsew signal output
flabel metal1 s 0 617 2496 666 0 FreeSans 340 0 0 0 VPWR
port 5 nsew power bidirectional
flabel metal1 s 0 0 2496 49 0 FreeSans 340 0 0 0 VGND
port 2 nsew ground bidirectional
flabel locali s 31 316 65 350 0 FreeSans 340 0 0 0 A
port 1 nsew signal input
<< properties >>
string LEFsite unit
string LEFclass CORE
string FIXED_BBOX 0 0 2496 666
string GDS_FILE $PDKPATH/libs.ref/sky130_fd_sc_lp/gds/sky130_fd_sc_lp.gds
string LEFsymmetry X Y R90
string GDS_END 6888368
string GDS_START 6867588
<< end >>
